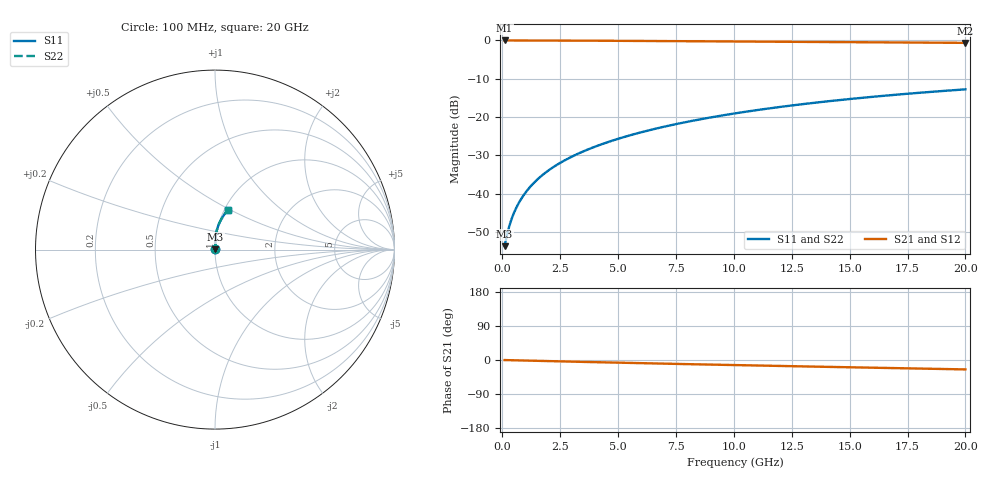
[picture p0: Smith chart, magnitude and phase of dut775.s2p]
! Touchstone file exported from HFSS 2024.1.0
!  File:  C:/UserFiles/LocalFiles/RDL_TSV_Batchsim/temp_RDL_top_775_1779852778.aedt
!  Generated:  11:35:06 AM May 27, 2026
!  Design:  RDL_top
!  Project:  temp_RDL_top_775_1779852778
!  Setup:  Setup1
!  Solution:  Sweep
! Variables:
!  dtsv = 10.80580581um
!  hbump = 3um
!  htsv = 81.85um
!  ldown = 100um
!  lrdl = 354.65um
!  p = 40
!  p1 = 43.85um
!  rhole = 1um
!  t = 450um
!  tdown = 3.915915916um
!  trdl = 3.74um
!  wdown = 15.38538539um
!  wrdl = 22.27um
# GHz S MA R 50.000000
! Terminal data exported
! Port[1] = Box2_T1
! Port[2] = Box2_T2
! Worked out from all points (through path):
!   200 points, 100 MHz to 20 GHz, reference 50 ohm
!   highest |S21| = -0.01 dB at 100 MHz (marker M1); lowest = -0.6 dB at 20 GHz (marker M2)
!   group delay of S21, straight-line fit = 3.41 ps
!   lowest |S11| = -53.8 dB at 100 MHz (marker M3), VSWR 1.00, Z = 50.2 + j0.113 ohm
!   |S11| at or under -10 dB: start of sweep to end of sweep
!   |S22| runs from -53.8 to -12.8 dB; largest |S21 - S12| = 3.7e-15
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0.1  0.002053 33.3  0.9983 -0.2  0.9983 -0.2  0.002053 33.3
! Gamma 0 0 0 0
! Port Impedance 50 0 50 0
0.2  0.002848 50.6  0.9982 -0.3  0.9982 -0.3  0.002848 50.6
0.3  0.003737 59.5  0.998 -0.5  0.998 -0.5  0.003737 59.5
0.4  0.004643 64.9  0.9979 -0.6  0.9979 -0.6  0.004643 64.9
0.5  0.005556 68.7  0.9978 -0.7  0.9978 -0.7  0.005556 68.7
0.6  0.006478 71.5  0.9977 -0.9  0.9977 -0.9  0.006479 71.5
0.8  0.008351 75.5  0.9976 -1.2  0.9976 -1.2  0.008352 75.5
1.1  0.01122 79.2  0.9972 -1.6  0.9972 -1.6  0.01122 79.2
1.3  0.01316 80.9  0.997 -1.9  0.997 -1.9  0.01316 80.9
1.6  0.01611 82.7  0.9966 -2.3  0.9966 -2.3  0.01611 82.6
2.1  0.02109 84.5  0.9957 -3.0  0.9957 -3.0  0.02109 84.5
2.7  0.02719 85.9  0.9944 -3.9  0.9944 -3.9  0.02719 85.9
3.5  0.03553 86.9  0.9924 -5.0  0.9924 -5.0  0.03553 86.9
4.2  0.04303 87.4  0.9902 -6.0  0.9902 -6.0  0.04303 87.4
5  0.05182 87.6  0.9875 -7.1  0.9875 -7.1  0.05181 87.5
6.8  0.07239 87.1  0.9808 -9.4  0.9808 -9.4  0.07238 87.0
8.4  0.09138 85.9  0.9745 -11.4  0.9745 -11.4  0.09137 85.9
10.1  0.112 84.3  0.9677 -13.5  0.9677 -13.5  0.112 84.3
11.7  0.1315 82.5  0.9613 -15.4  0.9613 -15.4  0.1315 82.5
13.4  0.1522 80.5  0.9546 -17.4  0.9546 -17.4  0.1522 80.5
16.7  0.1917 76.3  0.9417 -21.2  0.9417 -21.2  0.1916 76.3
20  0.2295 72.2  0.9288 -24.8  0.9288 -24.8  0.2295 72.2
